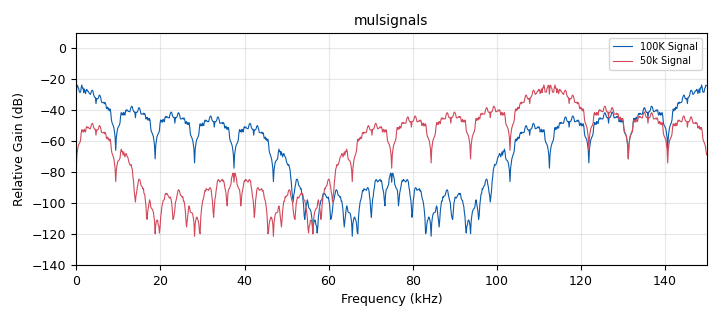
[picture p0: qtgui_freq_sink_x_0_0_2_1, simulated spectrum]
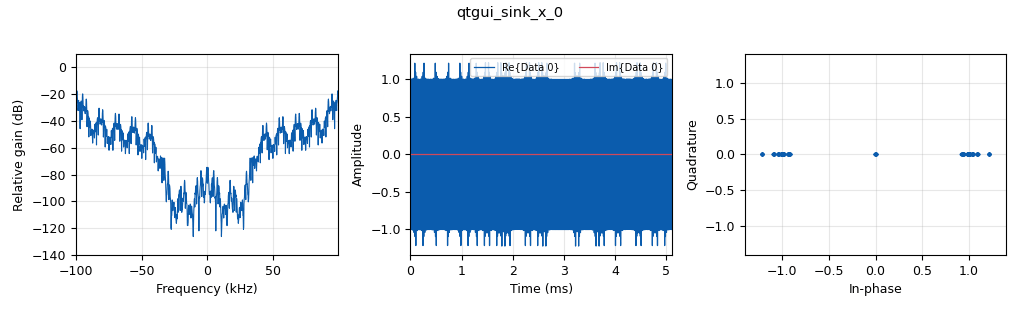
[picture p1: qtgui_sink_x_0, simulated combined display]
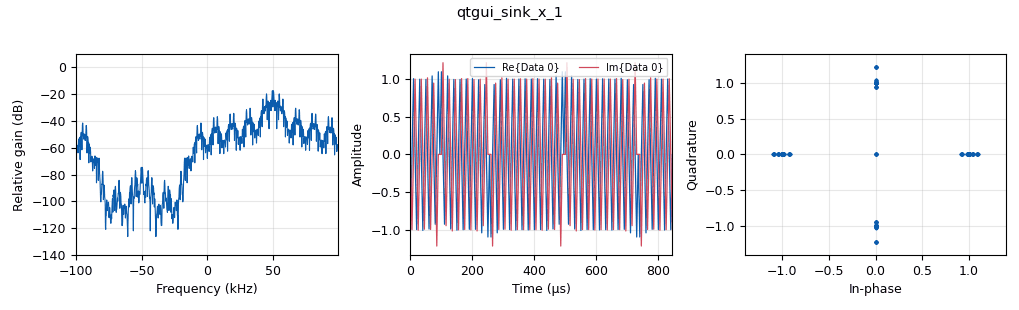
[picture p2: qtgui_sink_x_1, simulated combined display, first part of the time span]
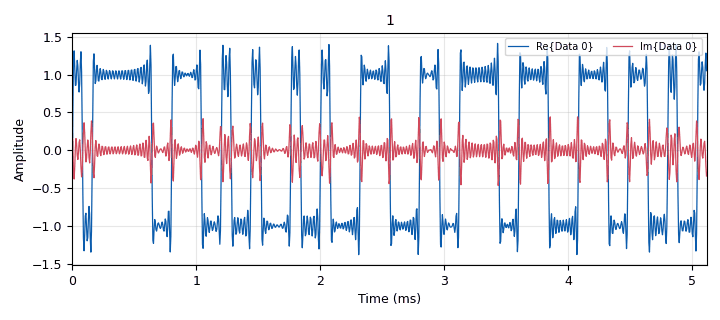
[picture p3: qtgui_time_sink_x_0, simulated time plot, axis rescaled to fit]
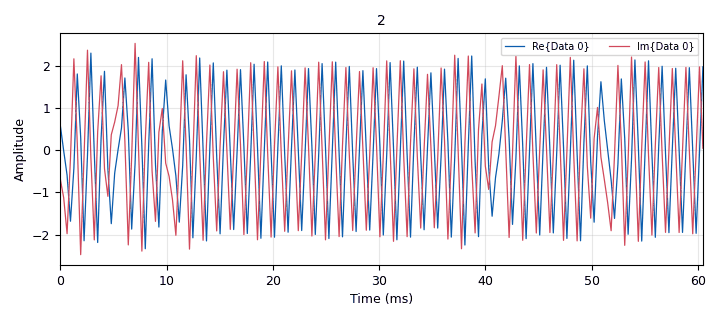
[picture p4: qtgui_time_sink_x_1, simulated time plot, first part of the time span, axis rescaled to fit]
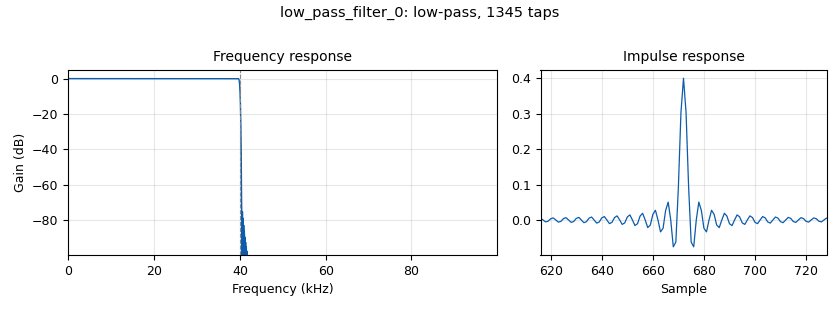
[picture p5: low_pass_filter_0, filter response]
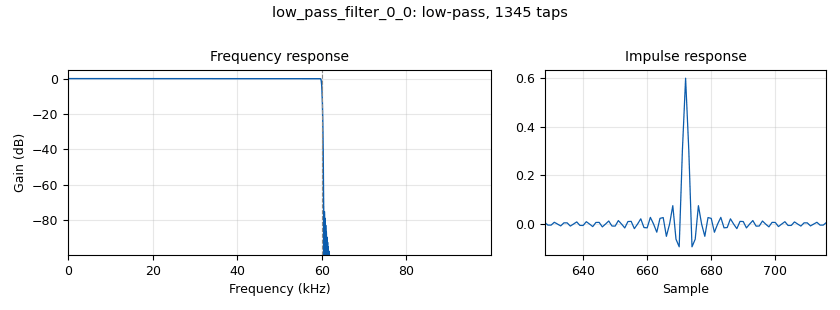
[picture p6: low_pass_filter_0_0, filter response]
options:
  parameters:
    generate_options: qt_gui
    id: FDSS
    output_language: python
    title: Not titled yet
  states: {}

blocks:
- name: bpsk
  id: variable_constellation
  parameters:
    precision: '8'
    type: bpsk
  states: {}
- name: noise1
  id: variable_qtgui_range
  parameters:
    start: '0'
    step: '0.5'
    stop: '10'
    value: '0'
  states: {}
- name: noise2
  id: variable_qtgui_range
  parameters:
    start: '0'
    step: '0.5'
    stop: '10'
    value: '0'
  states: {}
- name: qpsk
  id: variable_constellation
  parameters:
    precision: '8'
    type: dqpsk
  states: {}
- name: rrc
  id: variable
  parameters:
    value: firdes.root_raised_cosine(1.0,samp_rate,samp_rate/2,.035,11*2)
  states: {}
- name: samp_rate
  id: variable
  parameters:
    value: '200000'
  states: {}
- name: variable_adaptive_algorithm_0
  id: variable_adaptive_algorithm
  parameters:
    cons: bpsk
    step_size: '.0001'
    type: lms
  states: {}
- name: analog_random_source_x_1
  id: analog_random_source_x
  parameters:
    max: '2'
    min: '0'
    num_samps: '1000'
    repeat: 'True'
    type: byte
  states: {}
- name: analog_sig_source_x_0
  id: analog_sig_source_x
  parameters:
    amp: '1'
    freq: 100e3
    offset: '0'
    phase: '0'
    samp_rate: samp_rate
    type: complex
    waveform: analog.GR_COS_WAVE
  states: {}
- name: analog_sig_source_x_0_0
  id: analog_sig_source_x
  parameters:
    amp: '1'
    freq: 50e3
    offset: '0'
    phase: '0'
    samp_rate: samp_rate
    type: complex
    waveform: analog.GR_COS_WAVE
  states: {}
- name: analog_sig_source_x_0_0_0
  id: analog_sig_source_x
  parameters:
    amp: '1'
    freq: 50e3
    offset: '0'
    phase: '0'
    samp_rate: samp_rate
    type: complex
    waveform: analog.GR_COS_WAVE
  states: {}
- name: analog_sig_source_x_0_1
  id: analog_sig_source_x
  parameters:
    amp: '1'
    freq: 100e3
    offset: '0'
    phase: '0'
    samp_rate: samp_rate
    type: complex
    waveform: analog.GR_COS_WAVE
  states: {}
- name: blocks_add_xx_0
  id: blocks_add_xx
  parameters:
    type: complex
  states: {}
- name: blocks_interleaved_char_to_complex_0
  id: blocks_interleaved_char_to_complex
  parameters:
    scale_factor: '1.0'
    vector_input: 'False'
  states: {state: disabled}
- name: blocks_multiply_xx_0
  id: blocks_multiply_xx
  parameters:
    type: complex
  states: {}
- name: blocks_multiply_xx_0_0
  id: blocks_multiply_xx
  parameters:
    type: complex
  states: {}
- name: blocks_multiply_xx_0_1
  id: blocks_multiply_xx
  parameters:
    type: complex
  states: {}
- name: blocks_multiply_xx_0_1_0
  id: blocks_multiply_xx
  parameters:
    type: complex
  states: {}
- name: blocks_throttle_0
  id: blocks_throttle
  parameters:
    samples_per_second: samp_rate
    type: complex
  states: {}
- name: blocks_throttle_0_0
  id: blocks_throttle
  parameters:
    samples_per_second: samp_rate
    type: complex
  states: {}
- name: channels_channel_model_0
  id: channels_channel_model
  parameters:
    epsilon: '1.0'
    freq_offset: '0.0'
    noise_voltage: noise1
    seed: '0'
    taps: '1'
  states: {}
- name: channels_channel_model_0_0
  id: channels_channel_model
  parameters:
    epsilon: '1.0'
    freq_offset: '0.0'
    noise_voltage: noise2
    seed: '0'
    taps: '2'
  states: {}
- name: digital_constellation_modulator_0_0
  id: digital_constellation_modulator
  parameters:
    constellation: bpsk
    differential: 'True'
    excess_bw: '0.35'
    samples_per_symbol: '2'
  states: {}
- name: digital_linear_equalizer_0_0
  id: digital_linear_equalizer
  parameters:
    alg: variable_adaptive_algorithm_0
    num_taps: '11'
    sps: '2'
  states: {}
- name: digital_mpsk_snr_est_cc_0
  id: digital_mpsk_snr_est_cc
  parameters:
    alpha: '0.001'
    tag_nsamples: '100'
    type: '0'
  states: {}
- name: digital_mpsk_snr_est_cc_1
  id: digital_mpsk_snr_est_cc
  parameters:
    alpha: '0.001'
    tag_nsamples: '100'
    type: '0'
  states: {}
- name: digital_probe_mpsk_snr_est_c_0
  id: digital_probe_mpsk_snr_est_c
  parameters:
    alpha: '0.001'
    msg_nsamples: '100'
    type: '0'
  states: {}
- name: digital_probe_mpsk_snr_est_c_1
  id: digital_probe_mpsk_snr_est_c
  parameters:
    alpha: '0.001'
    msg_nsamples: '100'
    type: '0'
  states: {}
- name: epy_block_0
  id: epy_block
  parameters:
    _source_code: |-
      """
      Embedded Python Blocks:

      Each time this file is saved, GRC will instantiate the first class it finds
      to get ports and parameters of your block. The arguments to _init_  will
      be the parameters. All of them are required to have default values!
      """

      import numpy as np
      from gnuradio import gr
      import pmt
      import time
      from gnuradio import grc
      import inspect

      class blk(gr.sync_block):  # other base classes are basic_block, decim_block, interp_block
          """Embedded Python Block example - a simple multiply const"""

          def __init__(self):  # only default arguments here
              """arguments to this function show up as parameters in GRC"""
              gr.sync_block.__init__(
                  self,
                  name='Multiplexer1',   # will show up in GRC
                  in_sig=[np.complex64,np.complex64],
                  out_sig=[np.complex64]
              )
              self.selectPortName = 'snr1'
              self.message_port_register_in(pmt.intern(self.selectPortName))
              self.set_msg_handler(pmt.intern(self.selectPortName), self.handle_msg_first)
              self.selectPort = 'snr2'
              self.message_port_register_in(pmt.intern(self.selectPort))
              self.set_msg_handler(pmt.intern(self.selectPort), self.handle_msg_second)
              self.first_snr = 0
              self.second_snr = 0
              self.selector=0
              self.th = 0
              self.flag=0
              #print("1")
          
          def handle_msg_first(self,msg_snr1):
              self.first_snr=pmt.to_double(msg_snr1)
              print("first_snr",self.first_snr)
              self.selector=0
              print(f"selector: {self.selector}")
              #time.sleep(0.5)
          
          def handle_msg_second(self,msg_snr2):
              self.second_snr=pmt.to_double(msg_snr2)
              print("second_snr",self.second_snr)
              self.selector=1
              print(f"selector: {self.selector}")
          
          
          def work(self, input_items, output_items):
              """example: multiply with constant"""
              self.th=8
              if self.selector ==0:
                  if self.first_snr>=self.th:
                    
                     self.flag = 0
                  else:
                     if self.flag==0:
                     
                        self.selector=1
                      
              else:
                  if self.second_snr>=self.th:
                      
                      self.flag = 1
                  else:
                      if self.flag==1:
                      
                          self.selector = 0
                          

             
              output_items[0][:] = input_items[self.selector]
              return len(output_items[0])
  states: {}
- name: low_pass_filter_0
  id: low_pass_filter
  parameters:
    cutoff_freq: 40e3
    gain: '1'
    interp: '1'
    samp_rate: samp_rate
    type: interp_fir_filter_ccf
    width: '500'
    win: window.WIN_BLACKMAN
  states: {}
- name: low_pass_filter_0_0
  id: low_pass_filter
  parameters:
    cutoff_freq: 60e3
    gain: '1'
    interp: '1'
    samp_rate: samp_rate
    type: interp_fir_filter_ccf
    width: '500'
    win: window.WIN_BLACKMAN
  states: {}
- name: qtgui_const_sink_x_1_0
  id: qtgui_const_sink_x
  parameters:
    name: RX CONSTELLATION
    size: '1024'
    type: complex
  states: {}
- name: qtgui_freq_sink_x_0_0
  id: qtgui_freq_sink_x
  parameters:
    bw: samp_rate
    fc: '1000'
    fftsize: '1024'
    name: messagesignal
    type: complex
  states: {state: disabled}
- name: qtgui_freq_sink_x_0_0_2
  id: qtgui_freq_sink_x
  parameters:
    bw: samp_rate
    fc: '1000'
    fftsize: '1024'
    name: signal1
    type: complex
  states: {state: disabled}
- name: qtgui_freq_sink_x_0_0_2_1
  id: qtgui_freq_sink_x
  parameters:
    average: '0.1'
    bw: '150000'
    fc: '75000'
    fftsize: '1024'
    label1: '"100K Signal"'
    label2: '"50k Signal"'
    name: mulsignals
    nconnections: '2'
    type: complex
  states: {}
- name: qtgui_freq_sink_x_0_0_2_1_0
  id: qtgui_freq_sink_x
  parameters:
    bw: '150000'
    fc: '75000'
    fftsize: '1024'
    name: addsignal1
    type: complex
  states: {state: disabled}
- name: qtgui_freq_sink_x_0_0_2_1_1
  id: qtgui_freq_sink_x
  parameters:
    average: '0.1'
    bw: samp_rate
    fc: '1000'
    fftsize: '1024'
    name: recsignal2
    type: complex
  states: {state: disabled}
- name: qtgui_freq_sink_x_0_0_2_1_2
  id: qtgui_freq_sink_x
  parameters:
    average: '0.1'
    bw: samp_rate
    fc: '1000'
    fftsize: '1024'
    name: recsg1
    type: complex
  states: {state: disabled}
- name: qtgui_freq_sink_x_0_0_2_1_2_0
  id: qtgui_freq_sink_x
  parameters:
    average: '0.1'
    bw: samp_rate
    fc: '1000'
    fftsize: '1024'
    name: recsglpf1
    type: complex
  states: {state: disabled}
- name: qtgui_freq_sink_x_0_0_2_1_2_1
  id: qtgui_freq_sink_x
  parameters:
    average: '0.1'
    bw: samp_rate
    fc: '1000'
    fftsize: '1024'
    name: recsglpf2
    type: complex
  states: {state: disabled}
- name: qtgui_freq_sink_x_0_0_2_2
  id: qtgui_freq_sink_x
  parameters:
    bw: samp_rate
    fc: '1000'
    fftsize: '1024'
    name: mulsignal2
    type: complex
  states: {state: disabled}
- name: qtgui_freq_sink_x_0_1_0
  id: qtgui_freq_sink_x
  parameters:
    bw: '150000'
    fc: '100000'
    fftsize: '1024'
    name: '"RX Signal"'
    type: complex
  states: {}
- name: qtgui_sink_x_0
  id: qtgui_sink_x
  parameters:
    bw: samp_rate
    fc: '0'
    fftsize: '1024'
    type: complex
  states: {}
- name: qtgui_sink_x_1
  id: qtgui_sink_x
  parameters:
    bw: samp_rate
    fc: '0'
    fftsize: '1024'
    type: complex
  states: {}
- name: qtgui_time_sink_x_0
  id: qtgui_time_sink_x
  parameters:
    name: '"1"'
    size: '1024'
    srate: samp_rate
    type: complex
  states: {}
- name: qtgui_time_sink_x_1
  id: qtgui_time_sink_x
  parameters:
    name: '"2"'
    size: '1024'
    srate: samp_rate/64
    type: complex
  states: {}
- name: qtgui_waterfall_sink_x_0_0_0
  id: qtgui_waterfall_sink_x
  parameters:
    bw: '150000'
    fc: '100000'
    fftsize: '1024'
    name: '"RX Signal"'
    type: complex
  states: {}

connections:
- [analog_random_source_x_1, '0', blocks_interleaved_char_to_complex_0, '0']
- [analog_random_source_x_1, '0', digital_constellation_modulator_0_0, '0']
- [analog_sig_source_x_0, '0', blocks_multiply_xx_0, '0']
- [analog_sig_source_x_0_0, '0', blocks_multiply_xx_0_0, '1']
- [analog_sig_source_x_0_0_0, '0', blocks_multiply_xx_0_1_0, '1']
- [analog_sig_source_x_0_1, '0', blocks_multiply_xx_0_1, '0']
- [blocks_add_xx_0, '0', channels_channel_model_0, '0']
- [blocks_add_xx_0, '0', channels_channel_model_0_0, '0']
- [blocks_add_xx_0, '0', qtgui_freq_sink_x_0_0_2_1_0, '0']
- [blocks_interleaved_char_to_complex_0, '0', qtgui_freq_sink_x_0_0, '0']
- [blocks_multiply_xx_0, '0', blocks_throttle_0, '0']
- [blocks_multiply_xx_0, '0', qtgui_freq_sink_x_0_0_2_1, '0']
- [blocks_multiply_xx_0, '0', qtgui_sink_x_0, '0']
- [blocks_multiply_xx_0_0, '0', blocks_throttle_0_0, '0']
- [blocks_multiply_xx_0_0, '0', qtgui_freq_sink_x_0_0_2_1, '1']
- [blocks_multiply_xx_0_0, '0', qtgui_freq_sink_x_0_0_2_2, '0']
- [blocks_multiply_xx_0_0, '0', qtgui_sink_x_1, '0']
- [blocks_multiply_xx_0_1, '0', low_pass_filter_0, '0']
- [blocks_multiply_xx_0_1, '0', qtgui_freq_sink_x_0_0_2_1_2, '0']
- [blocks_multiply_xx_0_1_0, '0', low_pass_filter_0_0, '0']
- [blocks_multiply_xx_0_1_0, '0', qtgui_freq_sink_x_0_0_2_1_1, '0']
- [blocks_throttle_0, '0', blocks_add_xx_0, '0']
- [blocks_throttle_0_0, '0', blocks_add_xx_0, '1']
- [channels_channel_model_0, '0', blocks_multiply_xx_0_1, '1']
- [channels_channel_model_0_0, '0', blocks_multiply_xx_0_1_0, '0']
- [digital_constellation_modulator_0_0, '0', blocks_multiply_xx_0, '1']
- [digital_constellation_modulator_0_0, '0', blocks_multiply_xx_0_0, '0']
- [digital_constellation_modulator_0_0, '0', qtgui_freq_sink_x_0_0_2, '0']
- [digital_linear_equalizer_0_0, '0', qtgui_const_sink_x_1_0, '0']
- [digital_linear_equalizer_0_0, '0', qtgui_freq_sink_x_0_1_0, '0']
- [digital_linear_equalizer_0_0, '0', qtgui_waterfall_sink_x_0_0_0, '0']
- [digital_mpsk_snr_est_cc_0, '0', qtgui_time_sink_x_1, '0']
- [digital_mpsk_snr_est_cc_1, '0', qtgui_time_sink_x_0, '0']
- [digital_probe_mpsk_snr_est_c_0, snr, epy_block_0, snr1]
- [digital_probe_mpsk_snr_est_c_1, snr, epy_block_0, snr2]
- [epy_block_0, '0', digital_linear_equalizer_0_0, '0']
- [low_pass_filter_0, '0', digital_mpsk_snr_est_cc_1, '0']
- [low_pass_filter_0, '0', digital_probe_mpsk_snr_est_c_0, '0']
- [low_pass_filter_0, '0', epy_block_0, '0']
- [low_pass_filter_0, '0', qtgui_freq_sink_x_0_0_2_1_2_0, '0']
- [low_pass_filter_0_0, '0', digital_mpsk_snr_est_cc_0, '0']
- [low_pass_filter_0_0, '0', digital_probe_mpsk_snr_est_c_1, '0']
- [low_pass_filter_0_0, '0', epy_block_0, '1']
- [low_pass_filter_0_0, '0', qtgui_freq_sink_x_0_0_2_1_2_1, '0']

metadata:
  file_format: 1
  grc_version: 3.10.5.1
